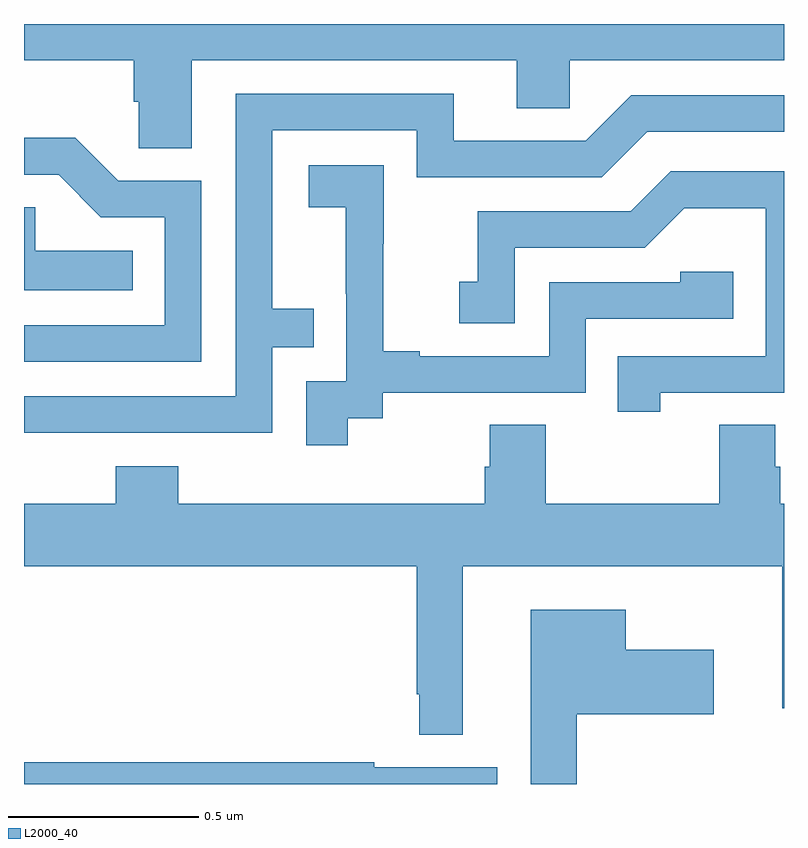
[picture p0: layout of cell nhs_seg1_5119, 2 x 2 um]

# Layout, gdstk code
import gdstk
lib = gdstk.Library(unit=1e-6, precision=1e-09)
def P(c, l, *ps):  # polygons
    for p in ps: c.add(gdstk.Polygon(p, *l))
L2000_40 = (2000, 40)

nhs_seg1_5119 = lib.new_cell('nhs_seg1_5119')
P(nhs_seg1_5119, L2000_40, [(175.441,513.104),(176.297,513.104),(176.297,512.977),(176.436,512.977),(176.436,513.104),(177,513.104),(177,513.199),(175,513.199),(175,513.104),(175.289,513.104),(175.289,512.995),(175.302,512.995),(175.302,512.872),(175.441,512.872)],
  [(175.157,512.124),(175.653,512.124),(175.653,512.349),(175.763,512.349),(175.763,512.45),(175.653,512.45),(175.653,512.919),(176.034,512.919),(176.034,512.796),(176.52,512.796),(176.64,512.916),(177,512.916),(177,513.012),(176.598,513.012),(176.478,512.892),(176.131,512.892),(176.131,513.015),(175.557,513.015),(175.557,512.22),(175,512.22),(175,512.123),(175.157,512.123)],
  [(175.467,512.787),(175.248,512.787),(175.135,512.9),(175,512.9),(175,512.802),(175.091,512.802),(175.202,512.691),(175.371,512.691),(175.371,512.406),(175,512.406),(175,512.31),(175.467,512.31)],
  [(175.852,512.161),(175.944,512.161),(175.944,512.229),(176.478,512.229),(176.478,512.424),(176.867,512.424),(176.867,512.547),(176.727,512.547),(176.727,512.52),(176.382,512.52),(176.382,512.325),(176.041,512.325),(176.041,512.338),(175.946,512.338),(175.946,512.621),(175.947,512.621),(175.947,512.827),(175.749,512.827),(175.749,512.717),(175.847,512.717),(175.847,512.489),(175.848,512.489),(175.848,512.259),(175.743,512.259),(175.743,512.091),(175.852,512.091)],
  [(176.674,512.229),(177,512.229),(177,512.811),(176.702,512.811),(176.597,512.706),(176.194,512.706),(176.194,512.521),(176.145,512.521),(176.145,512.412),(176.292,512.412),(176.292,512.61),(176.634,512.61),(176.738,512.714),(176.952,512.714),(176.952,512.325),(176.563,512.325),(176.563,512.178),(176.674,512.178)],
  [(175.286,512.602),(175.029,512.602),(175.029,512.717),(175,512.717),(175,512.498),(175.286,512.498)],
  [(176.155,511.772),(176.996,511.772),(176.996,511.398),(177,511.398),(177,511.936),(176.99,511.936),(176.99,512.034),(176.977,512.034),(176.977,512.144),(176.83,512.144),(176.83,511.936),(176.373,511.936),(176.373,512.144),(176.225,512.144),(176.225,512.034),(176.213,512.034),(176.213,511.936),(175.406,511.936),(175.406,512.035),(175.241,512.035),(175.241,511.936),(175,511.936),(175,511.772),(176.034,511.772),(176.034,511.435),(176.04,511.435),(176.04,511.328),(176.155,511.328)],
  [(176.455,511.382),(176.815,511.382),(176.815,511.552),(176.584,511.552),(176.584,511.657),(176.333,511.657),(176.333,511.199),(176.455,511.199)],
  [(176.245,511.243),(175.922,511.243),(175.922,511.256),(175,511.256),(175,511.199),(176.245,511.199)])

lib.write_gds('nhs_seg1_5119.gds')
